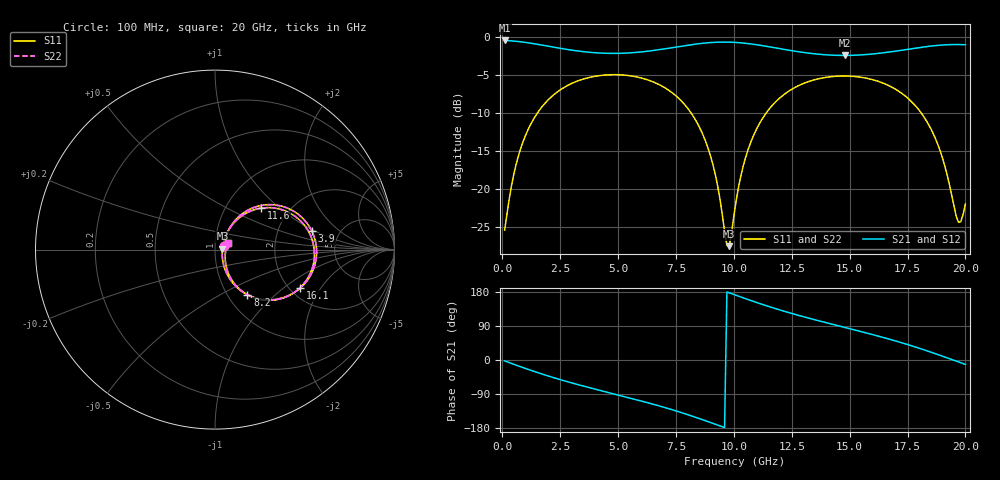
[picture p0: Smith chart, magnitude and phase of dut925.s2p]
! Touchstone file exported from HFSS 2026.1.0
!  File:  C:/ffzhzh/LocalFiles/Ansys_Project_Files/temp_train_TSV_RDL_925_1783279608_38704.aedt
!  Generated:  03:41:04 AM Jul  6, 2026
!  Design:  TSV_RDL
!  Project:  temp_train_TSV_RDL_925_1783279608_38704
! Variables:
!  h_bsmrdl = 2.53um
!  h_ox = 20um
!  h_rdl = 5um
!  h_sub = 81.61um
!  h_tmrdl = 5.6um
!  h_tsv = 81.61um
!  h_via = 3um
!  l_bsmrdl = 941um
!  l_sub = 6373.78um
!  l_tmrdl = 768.06um
!  m_sub = 200um
!  pitch = 34.23um
!  r_tsv = 4.34um
!  s_tmrdl = 10um
!  w_bsmrdl = 11.97um
!  w_sub = 500um
!  w_tmrdl = 14.21um
!  x_tsv_center1 = 775.165um
!  x_tsv_center2 = 1728.135um
!  x_tsv_center3 = 2510.405um
!  x_tsv_center4 = 3463.375um
!  x_tsv_center5 = 4245.645um
!  x_tsv_center6 = 5198.615um
# GHz S MA R 50.000000
! Terminal data exported
! Port[1] = TM_RDL1_1_T1
! Port[2] = TM_RDL5_1_T1
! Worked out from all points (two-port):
!   200 points, 100 MHz to 20 GHz, reference 50 ohm
!   highest |S21| = -0.43 dB at 100 MHz (marker M1); lowest = -2.4 dB at 14.8 GHz (marker M2)
!   |S21| within 3 dB of the highest: start of sweep to end of sweep
!   lowest |S11| = -27.5 dB at 9.8 GHz (marker M3), VSWR 1.09, Z = 54.3 + j0.632 ohm
!   |S11| at or under -10 dB: start of sweep to 1.516 GHz; 8.156 GHz to 11.39 GHz (3.238 GHz wide, 33.1 % of centre); 18.09 GHz to end of sweep
!   |S22| runs from -27.6 to -4.9 dB; largest |S21 - S12| = 1.6e-14
!   S11 on the Smith chart (normalised r, x): 100 MHz: 1.10, +0.05; 3.9 GHz: 3.12, +0.94; 8.2 GHz: 1.23, -0.68; 11.6 GHz: 1.46, +0.77; 16.1 GHz: 2.27, -1.32; 20 GHz: 1.15, +0.09
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0.1  0.0535 24.4  0.9519 -2.3  0.9519 -2.3  0.0535 24.4
! Gamma 0 0 0 0
! Port Impedance 50 0 50 0
0.6  0.1458 55.9  0.9397 -13.7  0.9397 -13.7  0.1458 55.9
1.2  0.2618 52.0  0.9145 -26.6  0.9145 -26.6  0.2618 52.0
3.5  0.5301 16.9  0.8032 -68.8  0.8032 -68.8  0.5301 16.9
3.9  0.5488 11.0  0.7924 -75.2  0.7924 -75.2  0.5488 11.0
5.3  0.5621 -9.2  0.7854 -97.0  0.7854 -97.0  0.5621 -9.2
6.8  0.485 -31.8  0.8286 -121.6  0.8286 -121.6  0.485 -31.7
8.2  0.3092 -54.3  0.8943 -148.1  0.8943 -148.1  0.3092 -54.3
9  0.1636 -63.7  0.9221 -165.1  0.9221 -165.1  0.1635 -63.7
9.7  0.04254 -19.1  0.9287 179.5  0.9287 179.5  0.04245 -19.1
9.8  0.04197 7.9  0.928 177.3  0.928 177.3  0.04189 8.0
10.1  0.0836 49.2  0.9234 170.6  0.9234 170.6  0.08358 49.3
10.7  0.1976 54.1  0.9045 157.6  0.9045 157.6  0.1976 54.1
11.6  0.3468 41.8  0.8608 139.4  0.8608 139.4  0.3468 41.8
13.4  0.52 14.2  0.7797 107.7  0.7797 107.7  0.52 14.2
14.8  0.5549 -5.7  0.7586 85.8  0.7586 85.8  0.555 -5.7
16.1  0.5195 -24.2  0.7782 65.3  0.7782 65.3  0.5196 -24.1
16.7  0.4792 -33.0  0.7984 55.2  0.7984 55.2  0.4792 -33.0
18.5  0.2506 -58.8  0.874 20.9  0.874 20.9  0.2507 -58.7
19.1  0.1437 -60.2  0.8903 8.1  0.8903 8.1  0.1437 -60.2
19.7  0.06031 -15.7  0.8947 -5.0  0.8947 -5.0  0.0603 -15.7
20  0.07951 27.8  0.8919 -11.6  0.8919 -11.6  0.07944 27.8
